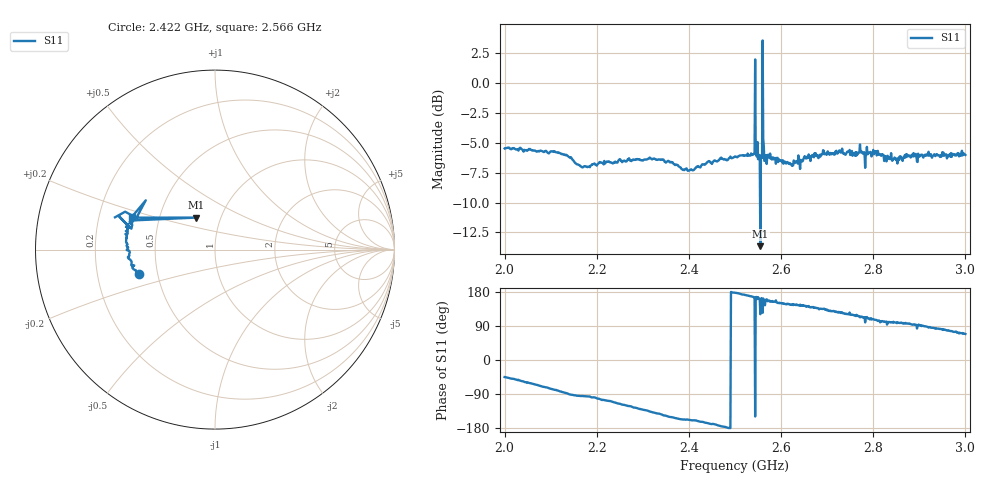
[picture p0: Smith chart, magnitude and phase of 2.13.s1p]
!Agilent Technologies,E8364A,US41440144,A.06.04.32
!Agilent E8364A: A.06.04.32
!Date: Friday, February 02, 2018 10:57:04
!Correction: S22(Full 2 Port(1,2))
!S1P File: Measurement: S22:
# Hz S  dB  R 50
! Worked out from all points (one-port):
!   801 points, 2 GHz to 3 GHz, reference 50 ohm
!   lowest |S11| = -13.7 dB at 2.555 GHz (marker M1), VSWR 1.52, Z = 38.1 + j14.2 ohm
!   |S11| at or under -10 dB: 2.554366 GHz to 2.555602 GHz (1.236 MHz wide, 0.0484 % of centre)
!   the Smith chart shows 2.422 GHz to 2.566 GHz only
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2e9  -5.48 -45.0
2.0775e9  -5.66 -68.5
2.125e9  -5.94 -84.6
2.145e9  -6.28 -91.6
2.16875e9  -7.06 -95.1
2.25e9  -6.37 -115.5
2.32e9  -6.40 -137.7
2.375e9  -6.86 -154.3
2.4025e9  -7.27 -158.3
2.4325e9  -6.83 -164.0
2.5e9  -6.14 177.6
2.5375e9  -6.02 167.0
2.53875e9  -6.00 166.7
2.54875e9  -4.93 160.8
2.55e9  -6.37 166.0
2.55375e9  -6.45 158.0
2.555e9  -13.65 120.8
2.56125e9  -4.65 162.1
2.565e9  -6.50 144.6
2.56625e9  -6.06 158.6
2.57125e9  -6.02 154.9
2.625e9  -6.86 147.1
2.6925e9  -5.66 135.1
2.75e9  -6.03 119.5
2.805e9  -5.83 105.7
2.8275e9  -6.16 100.9
2.875e9  -6.14 96.5
3e9  -6.02 68.8
